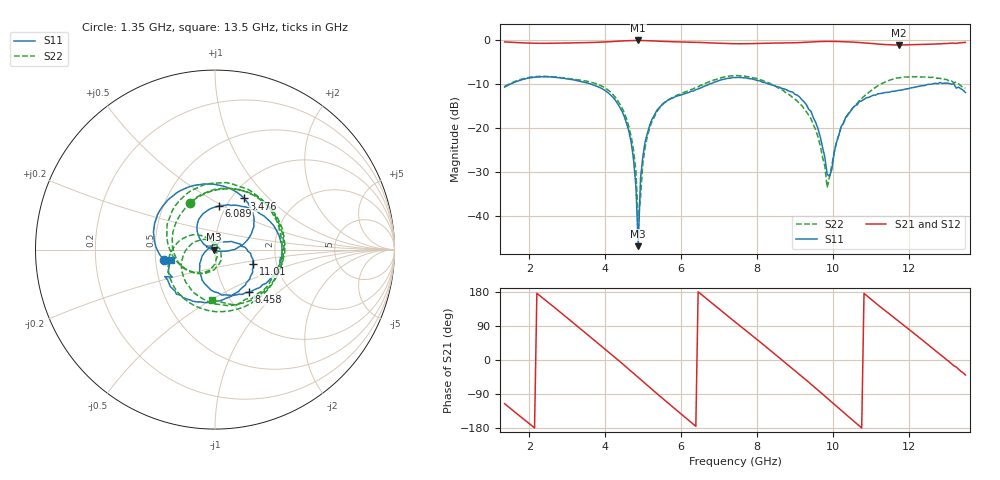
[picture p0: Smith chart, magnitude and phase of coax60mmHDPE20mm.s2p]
!Agilent Technologies,N5230C,MY48100320,A.08.04.10
!Agilent N5230C: A.08.04.10
!Date: Thursday, August 04, 2016 04:17:27
!Correction: S11(Full 2 Port(1,2))
!S21(Full 2 Port(1,2))
!S12(Full 2 Port(1,2))
!S22(Full 2 Port(1,2))
!S2P File: Measurements: S11, S21, S12, S22:
# Hz S  dB  R 50
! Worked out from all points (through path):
!   201 points, 1.35 GHz to 13.5 GHz, reference 50 ohm
!   highest |S21| = -0.16 dB at 4.874 GHz (marker M1); lowest = -1.2 dB at 11.74 GHz (marker M2)
!   group delay of S21, straight-line fit = 231 ps
!   lowest |S11| = -46.8 dB at 4.874 GHz (marker M3), VSWR 1.01, Z = 49.6 - j0.0912 ohm
!   |S11| at or under -10 dB: 3.61 GHz to 6.755 GHz (3.145 GHz wide, 60.7 % of centre); 8.307 GHz to 12.63 GHz (4.326 GHz wide, 41.3 % of centre); 13.2 GHz to end of sweep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
!   |S22| runs from -40.9 to -8.1 dB; largest |S21 - S12| = 0.0042
!   S11 on the Smith chart (normalised r, x): 1.35 GHz: 0.55, -0.07; 3.476 GHz: 1.14, +0.73; 6.089 GHz: 0.93, +0.48; 8.458 GHz: 1.27, -0.66; 11.01 GHz: 1.51, -0.26; 13.5 GHz: 0.60, -0.08
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1.35027e9  -10.72 -168.8  -0.49 -115.3  -0.49 -115.3  -10.58 118.2
2.322248e9  -8.37 132.8  -0.81 166.3  -0.82 166.3  -8.28 19.3
3.415724e9  -9.54 63.5  -0.67 76.9  -0.67 76.9  -9.22 -89.4
3.476473e9  -9.68 60.3  -0.66 71.8  -0.65 71.9  -9.33 -96.3
4.569948e9  -19.03 0.7  -0.24 -19.6  -0.23 -19.5  -17.99 139.6
4.752194e9  -27.28 -12.7  -0.17 -35.4  -0.17 -35.4  -25.16 114.8
4.873692e9  -46.75 -168.4  -0.16 -46.0  -0.19 -46.0  -40.95 62.5
4.93444e9  -31.35 169.7  -0.17 -51.3  -0.17 -51.3  -35.59 -54.7
4.995189e9  -26.43 158.5  -0.18 -56.6  -0.19 -56.6  -28.07 -72.4
5.42043e9  -15.45 126.1  -0.33 -93.3  -0.33 -93.3  -15.61 -126.5
6.088665e9  -12.24 84.6  -0.53 -149.6  -0.51 -149.5  -11.90 156.7
6.696151e9  -10.28 46.3  -0.68 159.7  -0.68 159.8  -9.68 92.7
7.425135e9  -8.57 1.4  -0.91 100.7  -0.90 100.8  -8.16 22.4
8.457862e9  -10.38 -51.8  -0.75 17.0  -0.76 17.0  -10.37 -90.4
9.490589e9  -17.67 -130.5  -0.45 -69.1  -0.45 -68.9  -19.24 154.2
9.855081e9  -30.51 146.9  -0.37 -100.7  -0.38 -100.7  -33.49 48.6
1.021957e10  -19.76 26.0  -0.42 -132.4  -0.43 -132.4  -19.94 -86.8
1.100931e10  -12.82 -21.1  -0.82 160.4  -0.83 160.5  -11.55 173.0
1.149529e10  -11.90 -46.9  -1.13 121.5  -1.14 121.5  -9.19 117.8
1.173829e10  -11.45 -60.2  -1.18 102.4  -1.19 102.4  -8.65 93.1
1.277102e10  -9.97 -126.5  -0.92 19.7  -0.93 19.8  -8.70 -14.1
1.35e10  -11.95 -166.4  -0.59 -39.6  -0.60 -39.4  -10.99 -93.0
